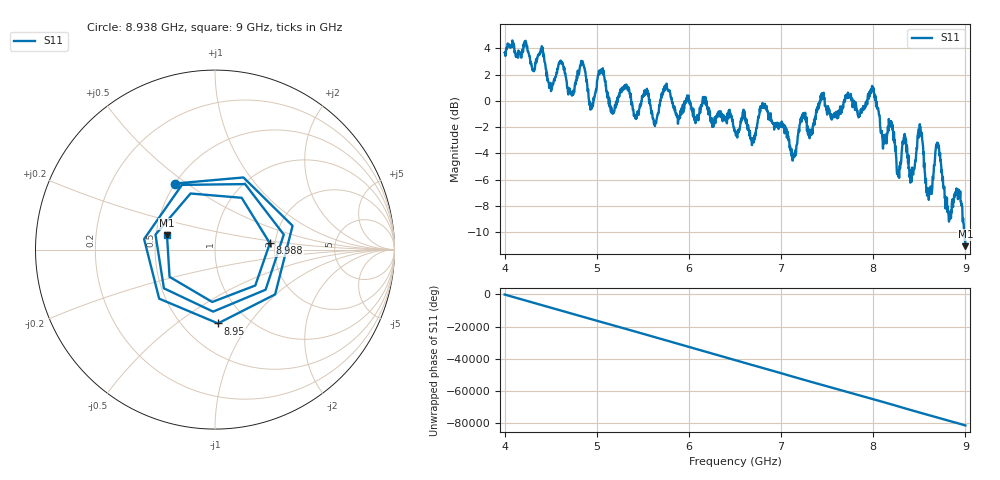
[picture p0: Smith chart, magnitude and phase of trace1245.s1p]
! Created with skrf 1.8.0 (http://scikit-rf.org).
# Hz S RI R 50.0
!freq ReS11 ImS11
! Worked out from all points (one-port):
!   1601 points, 4 GHz to 9 GHz, reference 50 ohm
!   lowest |S11| = -11.1 dB at 9 GHz (marker M1), VSWR 1.78, Z = 28.6 + j4.99 ohm
!   |S11| at or under -10 dB: 8.985964 GHz to end of sweep
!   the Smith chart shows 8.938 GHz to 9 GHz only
!   S11 on the Smith chart (normalised r, x): 8.938 GHz: 0.50, +0.45; 8.95 GHz: 0.73, -0.72; 8.988 GHz: 1.87, +0.15; 9 GHz: 0.57, +0.10
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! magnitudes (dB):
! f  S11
! 4 GHz  3.7
! 4.403 GHz  4.2
! 4.503 GHz  0.7
! 4.625 GHz  2.8
! 4.731 GHz  0.4
! 4.85 GHz  2.9
! 4.938 GHz  -0.4
! 5.044 GHz  2.3
! 5.162 GHz  -0.7
! 5.25 GHz  0.7
! 5.875 GHz  -1.2
! 6.5 GHz  -2.4
! 6.819 GHz  -0.5
! 7.125 GHz  -4.6
! 7.444 GHz  0.4
! 7.75 GHz  0.3
! 7.994 GHz  1.0
! 8.272 GHz  -5.5
! 8.375 GHz  -4.1
! 8.425 GHz  -5.1
! 8.506 GHz  -1.8
! 8.591 GHz  -7.0
! 8.7 GHz  -3.5
! 8.819 GHz  -8.8
! 8.938 GHz  -7.3
! 8.95 GHz  -7.7
! 8.988 GHz  -10.2
! 9 GHz  -11.1
